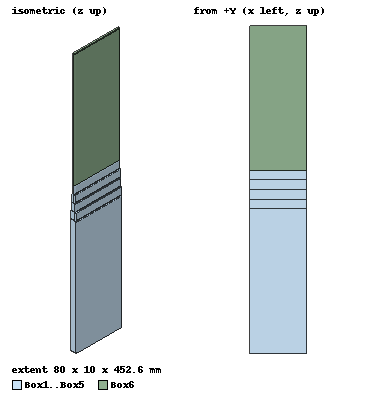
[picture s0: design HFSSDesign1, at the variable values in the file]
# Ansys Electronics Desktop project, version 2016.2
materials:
  vacuum: permittivity=1
  Epsilon1: permittivity=1.327 permeability=1
  Epsilon2: permittivity=2.123
  Material1: permittivity=3.803
  Epsilon4: permittivity=6.201
  Epsilon5: permittivity=8.313
  Epsilon3: permittivity=3.803
  air: permittivity=1.0006 permeability=1.0000004

design HFSSDesign1 (HFSS, DrivenModal, model units mm)
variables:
  a = 80mm
  b = 10mm
  L1 = 13.15mm
  L2 = 8.78mm
  L_system = 200mm
  L3 = 6.49mm
  L4 = 5.06mm
  L_load = 200mm
  b1 = 8.6mm
  b2 = 6.7mm
  b3 = b
  b3_second = 4.9mm
  b5 = 3.8mm
  b_load = 3.3mm
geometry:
  Box1 [air] = box(corner=(0mm, 0mm, 0mm), size=(a, b, L_system))
  Box2 [air] = box(corner=(0mm, (b-b1)/2, L_system), size=(a, b1, L1))
  Box3 [air] = box(corner=(0mm, (b-b2)/2, L_system+L1), size=(a, b2, L1))
  Box4 [air] = box(corner=(0mm, (b-b3_second)/2, L_system+L1+L1), size=(a, b3_second, L1))
  Box5 [air] = box(corner=(0mm, (b-b5)/2, L_system+L1+L1+L1), size=(a, b5, L1))
  Box6 [Epsilon5] = box(corner=(0mm, (b-b_load)/2, L_system+L1+L1+L1+L1), size=(a, b_load, L_load))
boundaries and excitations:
  FiniteCond1: Finite Conductivity Faces=Box1.face(+y, -x, -y, +x) Conductivity=58000000 Permeability=1 IsInternal
  FiniteCond2: Finite Conductivity Faces=Box2.face(+x, -y, +y, -x) Conductivity=58000000 Permeability=1 IsInternal
  FiniteCond3: Finite Conductivity Faces=Box3.face(-y, -x, +x, +y) Conductivity=58000000 Permeability=1 IsInternal
  FiniteCond4: Finite Conductivity Faces=Box4.face(-y, -x, +x, +y) Conductivity=58000000 Permeability=1 IsInternal
  FiniteCond5: Finite Conductivity Faces=Box5.face(-y, -x, +x, +y) Conductivity=58000000 Permeability=1 IsInternal
  FiniteCond6: Finite Conductivity Faces=Box6.face(+y, +x, -y, -x) Conductivity=58000000 Permeability=1 IsInternal
  1: Wave Port Faces=Box1.face(-z) NumModes=1 Modes{Mode1{IntLine{middle of Box1.edge(6 of 12) -> middle of Box1.edge(8 of 12)} CharImp=Zpi}}
  2: Wave Port Faces=Box6.face(+z) NumModes=1 Modes{Mode1{IntLine{middle of Box6.edge(4 of 12) -> middle of Box6.edge(2 of 12)} CharImp=Zpi}}
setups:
  Setup1: HfssDriven Frequency=8GHz MaxDeltaS=0.02 MaximumPasses=6 MinimumPasses=1 MinimumConvergedPasses=1 PercentRefinement=30 BasisOrder=1 PortAccuracy=2
    sweep Sweep: 2GHz to 10GHz step 0.5GHz; Type=Discrete
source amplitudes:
  1:1: 1W 0deg
  2:1: 0W 0deg
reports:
  XY Plot 1: mag(S(1,1)) vs Freq on Setup1 : Sweep
